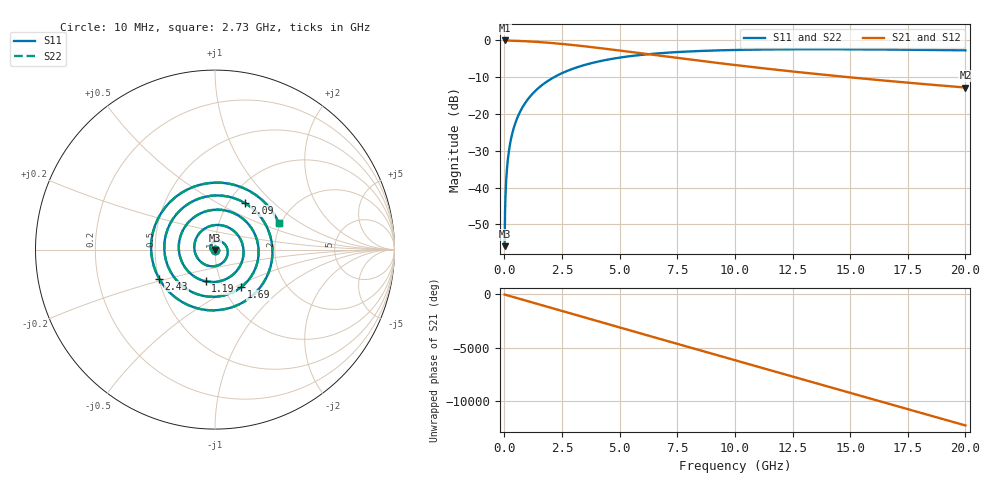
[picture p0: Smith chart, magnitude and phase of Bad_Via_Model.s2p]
! Validation Capstone Generated Data
! Freq: 10MHz - 20GHz, 10 inch trace, 0.6pF Via Cap
# Hz S RI R 85.0
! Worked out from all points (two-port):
!   2000 points, 10 MHz to 20 GHz, reference 85 ohm
!   highest |S21| = 0.00 dB at 10 MHz (marker M1); lowest = -12.8 dB at 20 GHz (marker M2)
!   |S21| within 3 dB of the highest: start of sweep to 5.325 GHz
!   lowest |S11| = -55.9 dB at 10 MHz (marker M3), VSWR 1.00, Z = 85 - j0.27 ohm
!   |S11| at or under -10 dB: start of sweep to 2.152 GHz
!   |S22| runs from -55.9 to -2.4 dB; largest |S21 - S12| = 0
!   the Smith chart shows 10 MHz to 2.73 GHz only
!   S11 on the Smith chart (normalised r, x): 10 MHz: 1.00, -0.00; 1.19 GHz: 0.85, -0.31; 1.69 GHz: 1.21, -0.54; 2.09 GHz: 1.19, +0.68; 2.43 GHz: 0.50, -0.18; 2.73 GHz: 1.96, +0.67
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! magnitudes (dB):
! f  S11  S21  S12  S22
! 10 MHz  -55.9  0.0  0.0  -55.9
! 60 MHz  -40.4  0.0  0.0  -40.4
! 120 MHz  -34.3  0.0  0.0  -34.3
! 150 MHz  -32.4  0.0  0.0  -32.4
! 180 MHz  -30.8  0.0  0.0  -30.8
! 220 MHz  -29.1  0.0  0.0  -29.1
! 310 MHz  -26.1  -0.1  -0.1  -26.1
! 460 MHz  -22.7  -0.1  -0.1  -22.7
! 650 MHz  -19.8  -0.1  -0.1  -19.8
! 890 MHz  -17.1  -0.2  -0.2  -17.1
! 1.19 GHz  -14.7  -0.3  -0.3  -14.7
! 1.69 GHz  -11.9  -0.5  -0.5  -11.9
! 2.09 GHz  -10.2  -0.7  -0.7  -10.2
! 2.43 GHz  -9.1  -0.9  -0.9  -9.1
! 2.73 GHz  -8.3  -1.1  -1.1  -8.3
! 3.35 GHz  -6.9  -1.5  -1.5  -6.9
! 4.8 GHz  -4.9  -2.6  -2.6  -4.9
! 6.68 GHz  -3.5  -4.1  -4.1  -3.5
! 10.01 GHz  -2.6  -6.7  -6.7  -2.6
! 13.34 GHz  -2.4  -9.0  -9.0  -2.4
! 16.67 GHz  -2.5  -11.0  -11.0  -2.5
! 20 GHz  -2.7  -12.8  -12.8  -2.7
